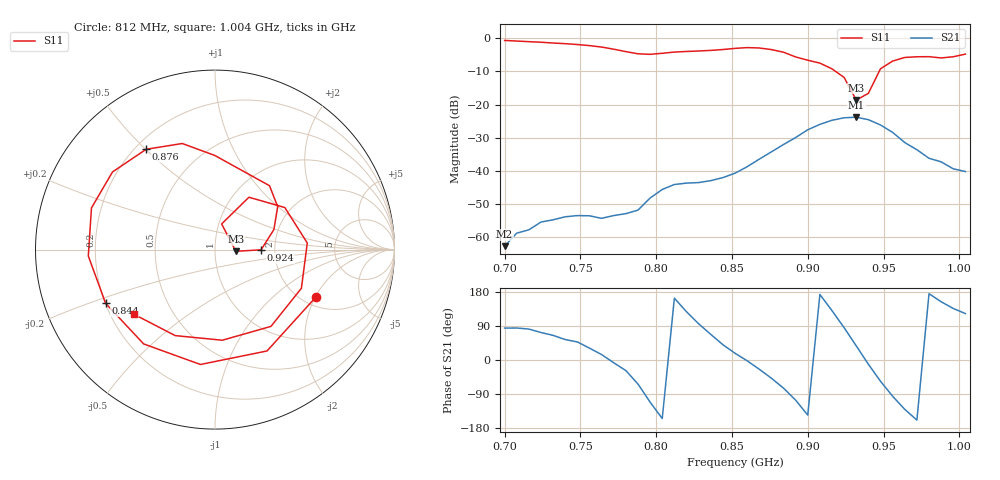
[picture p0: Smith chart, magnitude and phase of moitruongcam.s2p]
# Hz S RI R 50
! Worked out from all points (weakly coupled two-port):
!   39 points, 700 MHz to 1.004 GHz, reference 50 ohm
!   highest |S21| = -23.84 dB at 932 MHz (marker M1); lowest = -62.9 dB at 700 MHz (marker M2)
!   lowest |S11| = -18.7 dB at 932 MHz (marker M3), VSWR 1.26, Z = 63.1 - j1.23 ohm
!   |S11| at or under -10 dB: 918.4 MHz to 947.1 MHz (28.67 MHz wide, 3.07 % of centre)
!   S12 and S22 are empty: the file has one direction only
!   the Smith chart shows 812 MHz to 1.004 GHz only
!   S11 on the Smith chart (normalised r, x): 812 MHz: 2.35, -2.02; 844 MHz: 0.20, -0.22; 876 MHz: 0.24, +0.50; 924 MHz: 1.69, -0.00; 1.004 GHz: 0.30, -0.32
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7e8  0.7634 0.5337  7.18e-05 0.000716  0 0  0 0
7.24e8  0.8359 -0.2601  0.0005 0.00159  0 0  0 0
7.4e8  0.4502 -0.7002  0.00118 0.00162  0 0  0 0
7.56e8  -0.189 -0.7552  0.00177 0.00108  0 0  0 0
7.72e8  -0.6563 -0.2042  0.00207 -0.000266  0 0  0 0
7.8e8  -0.5939 0.2139  0.00197 -0.00105  0 0  0 0
7.88e8  -0.2589 0.525  0.00113 -0.00226  0 0  0 0
7.96e8  0.2275 0.5273  -0.0014 -0.00358  0 0  0 0
8.04e8  0.5647 0.1904  -0.00468 -0.00224  0 0  0 0
8.12e8  0.5622 -0.2643  -0.0059 0.00178  0 0  0 0
8.28e8  -0.0813 -0.6401  -0.000647 0.00656  0 0  0 0
8.44e8  -0.6095 -0.2994  0.00596 0.00508  0 0  0 0
8.52e8  -0.7058 -0.0354  0.0087 0.00279  0 0  0 0
8.76e8  -0.3836 0.559  0.0129 -0.0143  0 0  0 0
9.08e8  0.3492 0.239  -0.0497 0.00609  0 0  0 0
9.24e8  0.2567 -0.00105  0.00532 0.0628  0 0  0 0
9.32e8  0.1162 -0.00963  0.0512 0.0389  0 0  0 0
9.4e8  0.037 0.143  0.0578 -0.0115  0 0  0 0
9.56e8  0.3889 0.2344  -0.00375 -0.0377  0 0  0 0
9.72e8  0.4813 -0.2156  -0.0193 -0.00756  0 0  0 0
9.88e8  0.0409 -0.505  -0.0122 0.00602  0 0  0 0
1.004e9  -0.4536 -0.3593  -0.00521 0.00817  0 0  0 0
